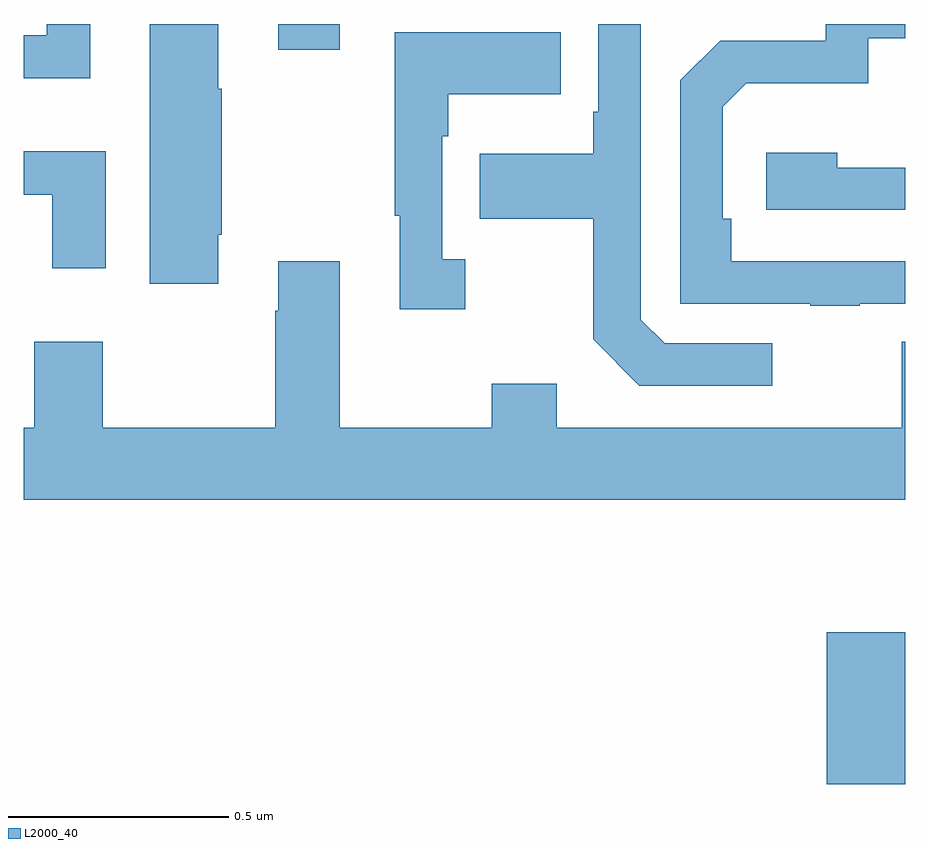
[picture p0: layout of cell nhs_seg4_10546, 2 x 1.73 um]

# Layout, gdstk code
import gdstk
lib = gdstk.Library(unit=1e-6, precision=1e-09)
def R(c, l, rs):  # rectangles x0, y0, x1, y1
    for r in rs: c.add(gdstk.rectangle(r[:2], r[2:], *l))
def P(c, l, *ps):  # polygons
    for p in ps: c.add(gdstk.Polygon(p, *l))
L2000_40 = (2000, 40)

nhs_seg4_10546 = lib.new_cell('nhs_seg4_10546')
R(nhs_seg4_10546, L2000_40, [(242.822,796.175,243,796.519), (241.577,797.841,241.717,797.9)])
P(nhs_seg4_10546, L2000_40, [(241.15,797.9),(241.052,797.9),(241.052,797.874),(241,797.874),(241,797.777),(241.15,797.777)],
  [(241.441,797.422),(241.449,797.422),(241.449,797.753),(241.441,797.753),(241.441,797.9),(241.286,797.9),(241.286,797.31),(241.441,797.31)],
  [(242.897,797.265),(243,797.265),(243,797.361),(242.606,797.361),(242.606,797.458),(242.586,797.458),(242.586,797.712),(242.639,797.765),(242.916,797.765),(242.916,797.868),(243,797.868),(243,797.9),(242.82,797.9),(242.82,797.862),(242.58,797.862),(242.49,797.772),(242.49,797.265),(242.785,797.265),(242.785,797.26),(242.897,797.26)],
  [(242.698,797.175),(242.454,797.175),(242.4,797.229),(242.4,797.9),(242.304,797.9),(242.304,797.701),(242.292,797.701),(242.292,797.605),(242.035,797.605),(242.035,797.458),(242.292,797.458),(242.292,797.185),(242.397,797.079),(242.698,797.079)],
  [(242.002,797.366),(241.95,797.366),(241.95,797.645),(241.963,797.645),(241.963,797.741),(242.219,797.741),(242.219,797.881),(241.842,797.881),(241.842,797.465),(241.853,797.465),(241.853,797.253),(242.002,797.253)],
  [(241.186,797.611),(241,797.611),(241,797.513),(241.064,797.513),(241.064,797.346),(241.186,797.346)],
  [(243,797.574),(242.846,797.574),(242.846,797.608),(242.685,797.608),(242.685,797.478),(243,797.478)],
  [(243,797.179),(242.993,797.179),(242.993,796.984),(242.209,796.984),(242.209,797.083),(242.062,797.083),(242.062,796.984),(241.717,796.984),(241.717,797.362),(241.577,797.362),(241.577,797.249),(241.57,797.249),(241.57,796.984),(241.179,796.984),(241.179,797.179),(241.024,797.179),(241.024,796.984),(241,796.984),(241,796.82),(243,796.82)])

lib.write_gds('nhs_seg4_10546.gds')
